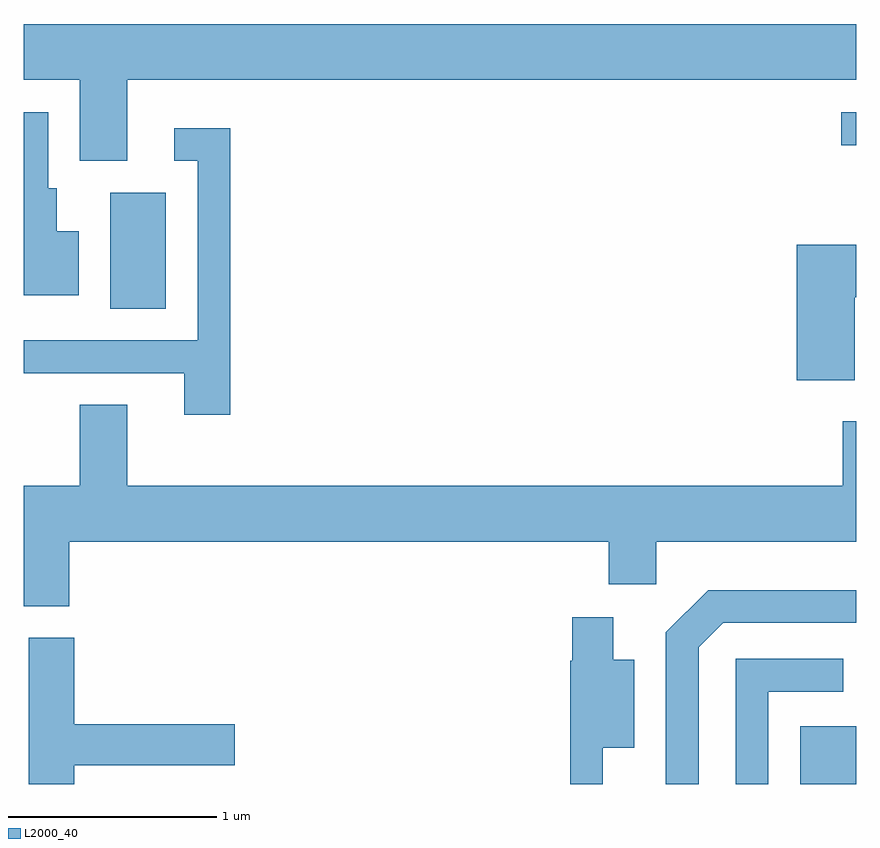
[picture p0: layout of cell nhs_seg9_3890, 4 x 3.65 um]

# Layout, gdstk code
import gdstk
lib = gdstk.Library(unit=1e-6, precision=1e-09)
def R(c, l, rs):  # rectangles x0, y0, x1, y1
    for r in rs: c.add(gdstk.rectangle(r[:2], r[2:], *l))
def P(c, l, *ps):  # polygons
    for p in ps: c.add(gdstk.Polygon(p, *l))
L2000_40 = (2000, 40)

nhs_seg9_3890 = lib.new_cell('nhs_seg9_3890')
R(nhs_seg9_3890, L2000_40, [(303.341,1988.432,303.611,1988.709), (300.026,1990.716,300.294,1991.274), (303.538,1991.501,303.611,1991.659)])
P(nhs_seg9_3890, L2000_40, [(300.109,1991.816),(303.611,1991.816),(303.611,1992.084),(299.611,1992.084),(299.611,1991.816),(299.881,1991.816),(299.881,1991.426),(300.109,1991.426)],
  [(299.874,1991.089),(299.769,1991.089),(299.769,1991.294),(299.729,1991.294),(299.729,1991.659),(299.611,1991.659),(299.611,1990.781),(299.874,1990.781)],
  [(300.604,1991.584),(300.333,1991.584),(300.333,1991.426),(300.446,1991.426),(300.446,1990.564),(299.611,1990.564),(299.611,1990.406),(300.381,1990.406),(300.381,1990.206),(300.604,1990.206)],
  [(303.604,1990.771),(303.611,1990.771),(303.611,1991.024),(303.326,1991.024),(303.326,1990.371),(303.604,1990.371)],
  [(299.829,1989.596),(302.421,1989.596),(302.421,1989.391),(302.649,1989.391),(302.649,1989.596),(303.611,1989.596),(303.611,1990.174),(303.546,1990.174),(303.546,1989.864),(300.109,1989.864),(300.109,1990.254),(299.881,1990.254),(299.881,1989.864),(299.611,1989.864),(299.611,1989.286),(299.829,1989.286)],
  [(302.854,1989.089),(302.972,1989.206),(303.611,1989.206),(303.611,1989.364),(302.899,1989.364),(302.696,1989.162),(302.696,1988.432),(302.854,1988.432)],
  [(302.394,1988.606),(302.544,1988.606),(302.544,1989.029),(302.444,1989.029),(302.444,1989.234),(302.246,1989.234),(302.246,1989.025),(302.236,1989.025),(302.236,1988.432),(302.394,1988.432)],
  [(299.854,1988.521),(300.624,1988.521),(300.624,1988.719),(299.854,1988.719),(299.854,1989.134),(299.636,1989.134),(299.636,1988.432),(299.854,1988.432)],
  [(303.189,1988.876),(303.548,1988.876),(303.548,1989.034),(303.031,1989.034),(303.031,1988.432),(303.189,1988.432)])

lib.write_gds('nhs_seg9_3890.gds')
